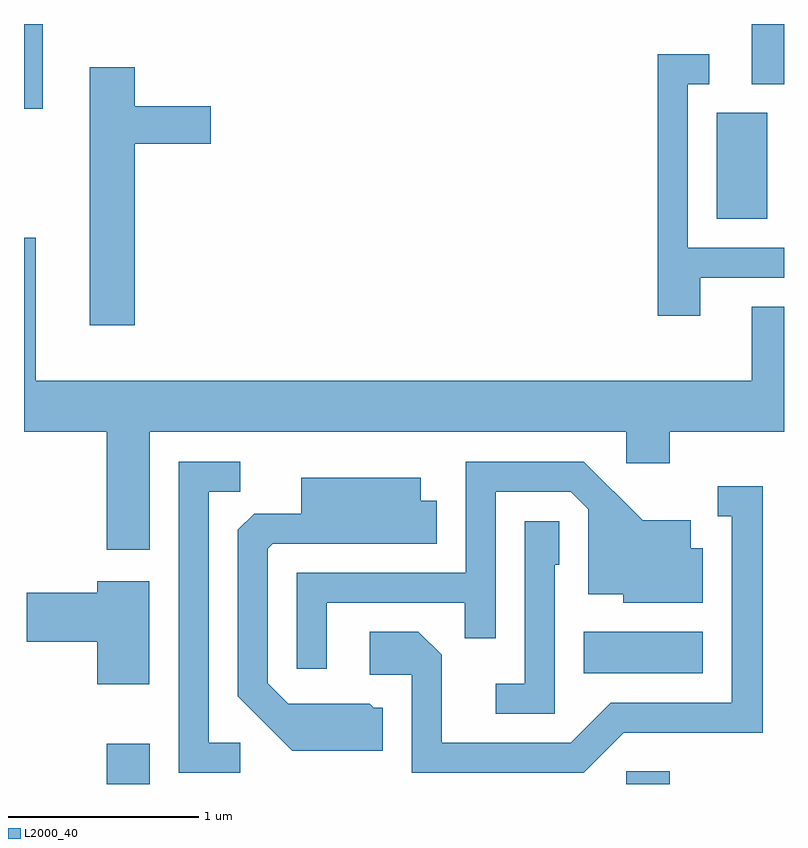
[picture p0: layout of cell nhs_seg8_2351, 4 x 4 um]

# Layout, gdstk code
import gdstk
lib = gdstk.Library(unit=1e-6, precision=1e-09)
def R(c, l, rs):  # rectangles x0, y0, x1, y1
    for r in rs: c.add(gdstk.rectangle(r[:2], r[2:], *l))
def P(c, l, *ps):  # polygons
    for p in ps: c.add(gdstk.Polygon(p, *l))
L2000_40 = (2000, 40)

nhs_seg8_2351 = lib.new_cell('nhs_seg8_2351')
R(nhs_seg8_2351, L2000_40, [(256.046,1832.342,256.274,1832.554), (258.781,1832.342,259.009,1832.409), (258.556,1832.926,259.184,1833.144), (259.256,1835.316,259.524,1835.874), (255.611,1835.896,255.709,1836.342), (259.441,1836.026,259.611,1836.342)])
P(nhs_seg8_2351, L2000_40, [(259.169,1835.006),(259.611,1835.006),(259.611,1835.164),(259.104,1835.164),(259.104,1836.026),(259.218,1836.026),(259.218,1836.184),(258.946,1836.184),(258.946,1834.806),(259.169,1834.806)],
  [(256.194,1835.711),(256.594,1835.711),(256.594,1835.909),(256.194,1835.909),(256.194,1836.114),(255.956,1836.114),(255.956,1834.756),(256.194,1834.756)],
  [(256.274,1834.196),(258.781,1834.196),(258.781,1834.031),(259.009,1834.031),(259.009,1834.196),(259.611,1834.196),(259.611,1834.854),(259.441,1834.854),(259.441,1834.464),(255.674,1834.464),(255.674,1835.218),(255.611,1835.218),(255.611,1834.196),(256.046,1834.196),(256.046,1833.576),(256.274,1833.576)],
  [(257.204,1833.296),(257.931,1833.296),(257.931,1833.108),(258.094,1833.108),(258.094,1833.881),(258.489,1833.881),(258.581,1833.789),(258.581,1833.341),(258.766,1833.341),(258.766,1833.296),(259.184,1833.296),(259.184,1833.584),(259.119,1833.584),(259.119,1833.729),(258.867,1833.729),(258.557,1834.039),(257.936,1834.039),(257.936,1833.454),(257.046,1833.454),(257.046,1832.948),(257.204,1832.948)],
  [(256.748,1832.559),(256.584,1832.559),(256.584,1833.881),(256.748,1833.881),(256.748,1834.039),(256.426,1834.039),(256.426,1832.401),(256.748,1832.401)],
  [(257.499,1832.744),(257.452,1832.744),(257.432,1832.764),(257.002,1832.764),(256.894,1832.872),(256.894,1833.579),(256.921,1833.606),(257.784,1833.606),(257.784,1833.834),(257.699,1833.834),(257.699,1833.954),(257.071,1833.954),(257.071,1833.764),(256.822,1833.764),(256.736,1833.679),(256.736,1832.804),(257.024,1832.516),(257.499,1832.516)],
  [(258.767,1832.611),(259.499,1832.611),(259.499,1833.909),(259.263,1833.909),(259.263,1833.751),(259.336,1833.751),(259.336,1832.769),(258.699,1832.769),(258.489,1832.559),(257.809,1832.559),(257.809,1833.022),(257.687,1833.144),(257.431,1833.144),(257.431,1832.916),(257.651,1832.916),(257.651,1832.401),(258.557,1832.401)],
  [(258.404,1833.496),(258.429,1833.496),(258.429,1833.724),(258.246,1833.724),(258.246,1832.869),(258.093,1832.869),(258.093,1832.711),(258.404,1832.711)],
  [(256.269,1833.409),(255.996,1833.409),(255.996,1833.349),(255.626,1833.349),(255.626,1833.091),(255.996,1833.091),(255.996,1832.866),(256.269,1832.866)])

lib.write_gds('nhs_seg8_2351.gds')
